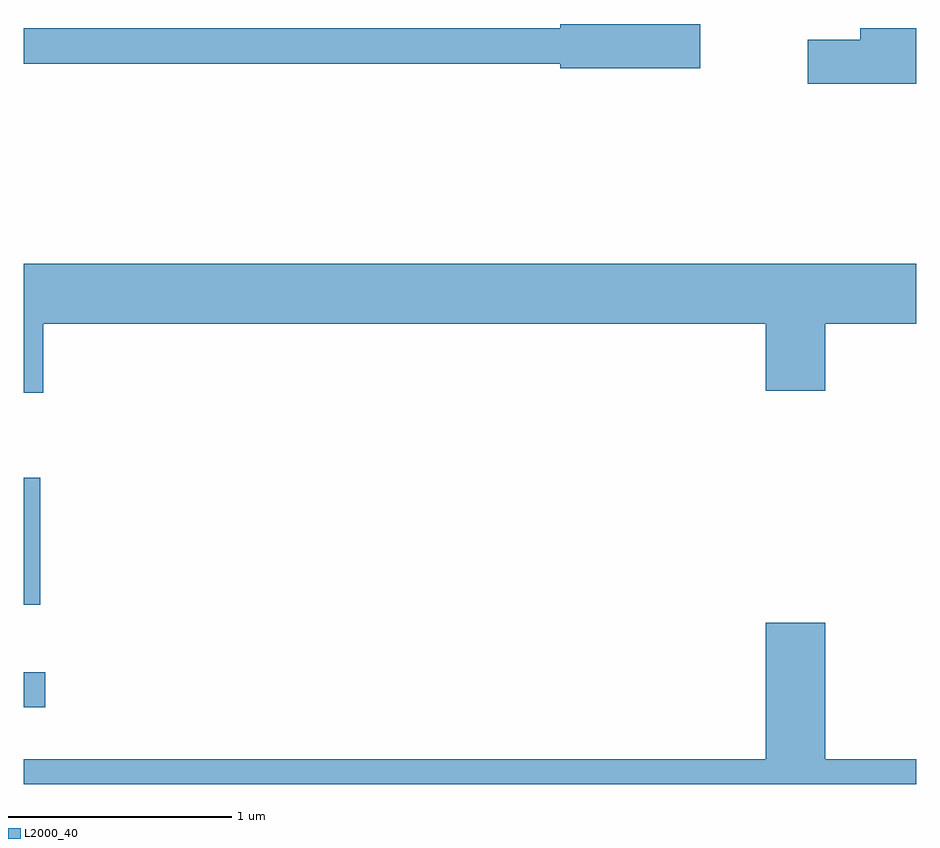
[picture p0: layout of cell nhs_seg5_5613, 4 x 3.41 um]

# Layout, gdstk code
import gdstk
lib = gdstk.Library(unit=1e-6, precision=1e-09)
def R(c, l, rs):  # rectangles x0, y0, x1, y1
    for r in rs: c.add(gdstk.rectangle(r[:2], r[2:], *l))
def P(c, l, *ps):  # polygons
    for p in ps: c.add(gdstk.Polygon(p, *l))
L2000_40 = (2000, 40)

nhs_seg5_5613 = lib.new_cell('nhs_seg5_5613')
R(nhs_seg5_5613, L2000_40, [(351.611,1448.416,351.708,1448.574), (351.611,1448.876,351.684,1449.444)])
P(nhs_seg5_5613, L2000_40, [(354.644,1451.479),(354.016,1451.479),(354.016,1451.459),(351.611,1451.459),(351.611,1451.301),(354.016,1451.301),(354.016,1451.281),(354.644,1451.281)],
  [(355.611,1451.459),(355.361,1451.459),(355.361,1451.409),(355.126,1451.409),(355.126,1451.211),(355.611,1451.211)],
  [(351.699,1450.136),(354.936,1450.136),(354.936,1449.836),(355.204,1449.836),(355.204,1450.136),(355.611,1450.136),(355.611,1450.404),(351.611,1450.404),(351.611,1449.826),(351.699,1449.826)],
  [(355.611,1448.184),(355.204,1448.184),(355.204,1448.794),(354.936,1448.794),(354.936,1448.184),(351.611,1448.184),(351.611,1448.072),(355.611,1448.072)])

lib.write_gds('nhs_seg5_5613.gds')
